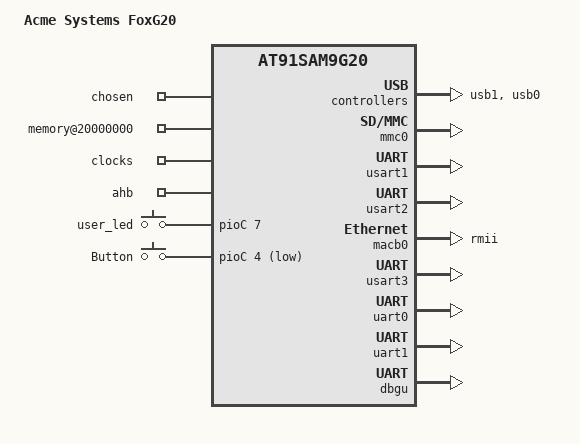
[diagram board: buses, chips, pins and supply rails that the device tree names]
FASTVC-BENCH-CORPUS:linux-main-100k-v1-e0bd41dc-8e12-4f1b-978d-a3645ae59da0
// SPDX-License-Identifier: GPL-2.0-or-later
/*
/* bench 17644.0.0 20ef98e79a60 */
/* bench 17644.0.1 300573a08687 */
/* bench 17644.0.2 5551e20c97a4 */
/* bench 17644.0.3 07cf4a7badaf */
/* bench 17644.0.4 0997ac34123b */
/* bench 17644.0.5 31ed53acf004 */
/* bench 17644.0.6 1206352b2cf1 */
 *
 * Based on DT files for at91sam9g20ek evaluation board (AT91SAM9G20 SoC)
 *
 * Copyright (C) 2013 Douglas Gilbert <dgilbert@interlog.com>
 */
/dts-v1/;
#include "at91sam9g20.dtsi"

/ {
	model = "Acme Systems FoxG20";
	compatible = "acme,foxg20", "atmel,at91sam9g20", "atmel,at91sam9";

	chosen {
		bootargs = "console=ttyS0,115200 root=/dev/mmcblk0p2 rw rootwait";
	};

	memory@20000000 {
		reg = <0x20000000 0x4000000>;
	};

	clocks {
/* bench 11784.1.0 fc72f6329a75 */
/* bench 11784.1.1 1a363a06fee8 */
/* bench 11784.1.2 7cab613363f7 */
/* bench 11784.1.3 dc516b05530b */
/* bench 11784.1.4 d7bac4d471d3 */
/* bench 11784.1.5 6965c2fc74b0 */
/* bench 11784.1.6 3704417e23cb */
/* bench 11784.1.7 fa9ecfed51b2 */
/* bench 11784.1.8 f9dcc6bd9b00 */
/* bench 11784.1.9 d1a273be519f */
/* bench 11784.1.10 51385b2adedd */
		slow_xtal {
			clock-frequency = <32768>;
		};

		main_xtal {
			clock-frequency = <18432000>;
		};
	};

	ahb {
		apb {
			tcb0: timer@fffa0000 {
				timer@0 {
					compatible = "atmel,tcb-timer";
					reg = <0>, <1>;
				};

/* bench 14639.0.0 c8e0ee27aa43 */
/* bench 14639.0.1 14771980012f */
/* bench 14639.0.2 e9f7d66783c1 */
/* bench 14639.0.3 bda380cf7422 */
/* bench 14639.0.4 c02f08915eaf */
/* bench 14639.0.5 ce40bbc76010 */
/* bench 14639.0.6 6d13696569f4 */
/* bench 14639.0.7 3853047caea0 */
/* bench 14639.0.8 19e76ba9d8ba */
/* bench 14639.0.9 6e5e04c01717 */
/* bench 14639.0.10 42bd847e168a */
					compatible = "atmel,tcb-timer";
					reg = <2>;
				};
			};

			usb1: gadget@fffa4000 {
				atmel,vbus-gpio = <&pioC 6 GPIO_ACTIVE_HIGH>;
				status = "okay";
			};

			mmc0: mmc@fffa8000 {
				pinctrl-0 = <
					&pinctrl_mmc0_clk
					&pinctrl_mmc0_slot1_cmd_dat0
					&pinctrl_mmc0_slot1_dat1_3>;
				pinctrl-names = "default";
				status = "okay";

				slot@1 {
					reg = <1>;
					bus-width = <4>;
				};
			};

			usart0: serial@fffb0000 {
				pinctrl-0 =
					<&pinctrl_usart0
					 &pinctrl_usart0_rts
					 &pinctrl_usart0_cts
/* bench 21372.1.0 35642602ce96 */
/* bench 21372.1.1 ad17ccd4ba06 */
/* bench 21372.1.2 1470ef66774b */
/* bench 21372.1.3 dce14389cd46 */
/* bench 21372.1.4 6b2469a61658 */
			};

			usart1: serial@fffb4000 {
				status = "okay";
			};

			usart2: serial@fffb8000 {
				status = "okay";
			};

			macb0: ethernet@fffc4000 {
				phy-mode = "rmii";
				status = "okay";
			};

			usart3: serial@fffd0000 {
				status = "okay";
			};

			uart0: serial@fffd4000 {
				status = "okay";
			};

			uart1: serial@fffd8000 {
				status = "okay";
			};

			dbgu: serial@fffff200 {
				status = "okay";
			};

			pinctrl@fffff400 {
				board {
					pinctrl_pck0_as_mck: pck0_as_mck {
						atmel,pins =
							<AT91_PIOC 1 AT91_PERIPH_B AT91_PINCTRL_NONE>;
					};
				};

				mmc0_slot1 {
					pinctrl_board_mmc0_slot1: mmc0_slot1-board {
						atmel,pins =
							<AT91_PIOC 9 AT91_PERIPH_GPIO AT91_PINCTRL_PULL_UP_DEGLITCH>;	/* CD pin */
					};
				};

				i2c0 {
					pinctrl_i2c0: i2c0-0 {
						atmel,pins =
							<AT91_PIOA 23 AT91_PERIPH_A AT91_PINCTRL_MULTI_DRIVE	/* TWD (SDA), open drain */
							 AT91_PIOA 24 AT91_PERIPH_A AT91_PINCTRL_MULTI_DRIVE>;	/* TWCK (SCL), open drain */
					};
				};
			};

			watchdog@fffffd40 {
				status = "okay";
			};
		};

		usb0: ohci@500000 {
			num-ports = <2>;
			status = "okay";
		};
	};

	i2c-gpio-0 {
		pinctrl-names = "default";
		pinctrl-0 = <&pinctrl_i2c0>;
		i2c-gpio,delay-us = <5>;	/* ~85 kHz */
		status = "okay";
	};

	leds {
		compatible = "gpio-leds";

		/* red LED marked "PC7" near mini USB (device) receptacle */
		user_led {
			label = "user_led";
			gpios = <&pioC 7 GPIO_ACTIVE_HIGH>;	/* PC7 */
			linux,default-trigger = "heartbeat";
		};
	};

	gpio_keys {
		compatible = "gpio-keys";

		btn {
			label = "Button";
			gpios = <&pioC 4 GPIO_ACTIVE_LOW>;
			linux,code = <0x103>;
/* bench 310.1.0 33246885c569 */
/* bench 310.1.1 bb5652d45c38 */
/* bench 310.1.2 eb544ee6e247 */
/* bench 310.1.3 731c5a826527 */
	};
};
